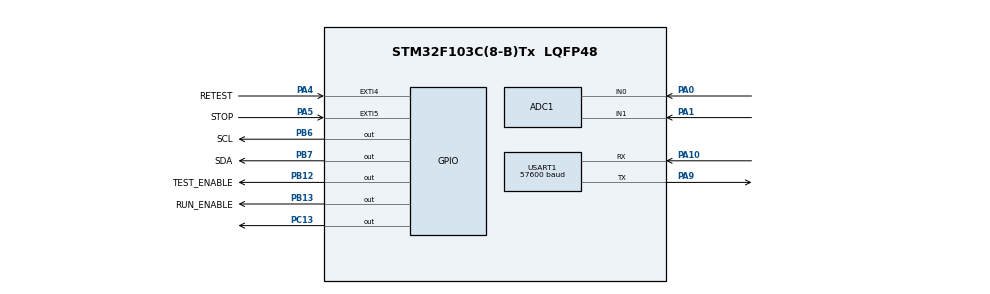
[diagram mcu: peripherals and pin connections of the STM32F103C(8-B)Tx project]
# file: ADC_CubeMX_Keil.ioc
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ADC1.Channel-0\#ChannelRegularConversion=ADC_CHANNEL_0
ADC1.Channel-1\#ChannelRegularConversion=ADC_CHANNEL_1
ADC1.ContinuousConvMode=DISABLE
ADC1.DiscontinuousConvMode=ENABLE
ADC1.NbrOfConversion=2
ADC1.NbrOfConversionFlag=1
ADC1.Rank-0\#ChannelRegularConversion=1
ADC1.Rank-1\#ChannelRegularConversion=2
ADC1.SamplingTime-0\#ChannelRegularConversion=ADC_SAMPLETIME_239CYCLES_5
ADC1.SamplingTime-1\#ChannelRegularConversion=ADC_SAMPLETIME_239CYCLES_5
ADC1.master=1
Mcu.Family=STM32F1
Mcu.Name=STM32F103C(8-B)Tx
Mcu.Package=LQFP48
NVIC.EXTI4_IRQn=true\:1\:0\:true\:false\:true\:true\:true\:true
NVIC.EXTI9_5_IRQn=true\:0\:0\:true\:false\:true\:true\:true\:true
NVIC.PriorityGroup=NVIC_PRIORITYGROUP_4
PA0-WKUP.Signal=SharedAnalog_PA0
PA1.GPIO_Mode=GPIO_MODE_ANALOG
PA1.Signal=SharedAnalog_PA1
PA10.Mode=Asynchronous
PA10.Signal=USART1_RX
PA4.GPIO_Label=RETEST
PA4.GPIO_ModeDefaultEXTI=GPIO_MODE_IT_FALLING
PA4.GPIO_PuPd=GPIO_PULLUP
PA4.Signal=GPXTI4
PA5.GPIO_Label=STOP
PA5.GPIO_ModeDefaultEXTI=GPIO_MODE_IT_FALLING
PA5.GPIO_PuPd=GPIO_PULLUP
PA5.Signal=GPXTI5
PA9.Mode=Asynchronous
PA9.Signal=USART1_TX
PB12.GPIO_Label=TEST_ENABLE
PB12.GPIO_ModeDefaultOutputPP=GPIO_MODE_OUTPUT_PP
PB12.GPIO_PuPd=GPIO_NOPULL
PB12.GPIO_Speed=GPIO_SPEED_FREQ_LOW
PB12.PinState=GPIO_PIN_RESET
PB12.Signal=GPIO_Output
PB13.GPIO_Label=RUN_ENABLE
PB13.GPIO_ModeDefaultOutputPP=GPIO_MODE_OUTPUT_PP
PB13.GPIO_PuPd=GPIO_NOPULL
PB13.GPIO_Speed=GPIO_SPEED_FREQ_LOW
PB13.PinState=GPIO_PIN_RESET
PB13.Signal=GPIO_Output
PB6.GPIO_Label=SCL
PB6.GPIO_ModeDefaultOutputPP=GPIO_MODE_OUTPUT_OD
PB6.GPIO_PuPd=GPIO_PULLUP
PB6.GPIO_Speed=GPIO_SPEED_FREQ_HIGH
PB6.PinState=GPIO_PIN_SET
PB6.Signal=GPIO_Output
PB7.GPIO_Label=SDA
PB7.GPIO_ModeDefaultOutputPP=GPIO_MODE_OUTPUT_OD
PB7.GPIO_PuPd=GPIO_PULLUP
PB7.GPIO_Speed=GPIO_SPEED_FREQ_HIGH
PB7.PinState=GPIO_PIN_SET
PB7.Signal=GPIO_Output
PC13-TAMPER-RTC.PinState=GPIO_PIN_SET
PC13-TAMPER-RTC.Signal=GPIO_Output
PC14-OSC32_IN.Mode=LSE-External-Oscillator
PC14-OSC32_IN.Signal=RCC_OSC32_IN
PC15-OSC32_OUT.Mode=LSE-External-Oscillator
PC15-OSC32_OUT.Signal=RCC_OSC32_OUT
PD0-OSC_IN.Mode=HSE-External-Oscillator
PD0-OSC_IN.Signal=RCC_OSC_IN
PD1-OSC_OUT.Mode=HSE-External-Oscillator
PD1-OSC_OUT.Signal=RCC_OSC_OUT
ProjectManager.HeapSize=0x200
ProjectManager.StackSize=0x400
ProjectManager.TargetToolchain=MDK-ARM V5.32
RCC.APB1Freq_Value=8000000
RCC.APB1TimFreq_Value=8000000
RCC.APB2Freq_Value=8000000
SH.SharedAnalog_PA0.0=GPIO_Analog
SH.SharedAnalog_PA0.1=ADC1_IN0,IN0
SH.SharedAnalog_PA1.0=GPIO_Analog
SH.SharedAnalog_PA1.1=ADC1_IN1,IN1
USART1.BaudRate=57600
USART1.VirtualMode=VM_ASYNC
VP_SYS_VS_ND.Mode=No_Debug
board=custom

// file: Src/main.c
/* USER CODE BEGIN Header */
/**
  ******************************************************************************
  * @file           : main.c
  * @brief          : Main program body
  ******************************************************************************
  * @attention
  *
  * Copyright (c) 2026 STMicroelectronics.
  * All rights reserved.
  *
  * This software is licensed under terms that can be found in the LICENSE file
  * in the root directory of this software component.
  * If no LICENSE file comes with this software, it is provided AS-IS.
  *
  ******************************************************************************
  */
/* USER CODE END Header */
#include "main.h"
#include "adc.h"
#include "usart.h"
#include "gpio.h"

/* USER CODE BEGIN Includes */
#include "div_config.h" /* 读取应用参数。 */
#include "div_power.h" /* 初始化和紧急断电接口。 */
#include "div_control.h" /* 按键和检测调度接口。 */
#include "div_display.h" /* OLED初始化和刷新接口。 */
#include "div_measurement.h" /* 启动后先执行首轮检测，再初始化OLED。 */
#include "oled_display.h" /* 提供OLED_DISPLAY_ENABLE编译开关。 */
/* USER CODE END Includes */

void SystemClock_Config(void);

int main(void)
{

  /* MCU Configuration--------------------------------------------------------*/

  /* Reset of all peripherals, Initializes the Flash interface and the Systick. */
  HAL_Init();

  /* Configure the system clock */
  SystemClock_Config();

  /* Initialize all configured peripherals */
  MX_GPIO_Init();
  MX_USART1_UART_Init();
  MX_ADC1_Init();
  /* USER CODE BEGIN 2 */
DivPower_Initialize(); /* GPIO初始化后确保两路电源均关闭。 */
HAL_Delay(TERMINAL_STARTUP_WAIT_MILLISECONDS); /* 等待虚拟终端进入接收状态。 */
{
    const char startup[] = "FW=DIV_SYNC_R19 OLED_MODE=TEXT4X16 ACK=UNCHECKED MODE=ON_DEMAND VREF_MV=3300 ADC_BITS=12 BAUD=57600\r\n"; /* 标记固件版本并保留原启动字段。 */
    if (HAL_UART_Transmit(&huart1, (uint8_t *)startup, sizeof(startup) - 1, UART_TIMEOUT_MILLISECONDS) != HAL_OK) /* 发送启动状态。 */
    {
        Error_Handler(); /* 串口启动失败时进入断电停机。 */
    }
}
if (HAL_ADCEx_Calibration_Start(&hadc1) != HAL_OK) /* 在测量前校准ADC。 */
{
    const char calibration_error[] = "STATE=UNKNOWN ERROR=ADC_CALIBRATION_FAILED RUN_POWER=OFF TEST_POWER=OFF\r\n"; /* 准备校准失败报告。 */
    HAL_UART_Transmit(&huart1, (uint8_t *)calibration_error, sizeof(calibration_error) - 1, UART_TIMEOUT_MILLISECONDS); /* 尽力输出校准故障。 */
    Error_Handler(); /* 校准失败时禁止继续检测。 */
}
DivControl_InitializeButtons(); /* 初始化RETEST外部中断事件状态。 */
DivControl_Trace("OLED_INIT_BEGIN");
DivDisplay_Initialize(); /* 先显示，再开始耗时采样，避免开机等待6秒后才点亮。 */
DivControl_Trace("OLED_INIT_END");
DivControl_Trace("INITIAL_DETECTION_START");
DivMeasurement_Run(); /* 首轮检测在OLED已初始化后运行，可实时显示TESTING和采样结果。 */
  /* USER CODE END 2 */

  /* Infinite loop */
  /* USER CODE BEGIN WHILE */
  while (1) /* 持续执行循环；错误处理中的空循环用于停机。 */
  {
    /* USER CODE END WHILE */

    /* USER CODE BEGIN 3 */
DivControl_Service(); /* 处理停止、复测及ADC检测调度。 */
#if OLED_DISPLAY_ENABLE /* OLED启用时刷新显示并输出状态。 */
DivDisplay_Service(); /* 刷新最近一次测量结果。 */
DivDisplay_ServiceStatus(); /* 定时输出主循环和I2C状态。 */
#endif /* 结束OLED服务条件编译。 */
HAL_Delay(CONTROL_POLL_MILLISECONDS); /* 控制轮询节拍；RETEST由EXTI4产生事件。 */
  }
  /* USER CODE END 3 */
}

void SystemClock_Config(void)
{
  RCC_OscInitTypeDef RCC_OscInitStruct = {0};
  RCC_ClkInitTypeDef RCC_ClkInitStruct = {0};
  RCC_PeriphCLKInitTypeDef PeriphClkInit = {0};

  /** Initializes the RCC Oscillators according to the specified parameters
  * in the RCC_OscInitTypeDef structure.
  */
  RCC_OscInitStruct.OscillatorType = RCC_OSCILLATORTYPE_HSI;
  RCC_OscInitStruct.HSIState = RCC_HSI_ON;
  RCC_OscInitStruct.HSICalibrationValue = RCC_HSICALIBRATION_DEFAULT;
  RCC_OscInitStruct.PLL.PLLState = RCC_PLL_NONE;
  if (HAL_RCC_OscConfig(&RCC_OscInitStruct) != HAL_OK)
  {
    Error_Handler();
  }

  /** Initializes the CPU, AHB and APB buses clocks
  */
  RCC_ClkInitStruct.ClockType = RCC_CLOCKTYPE_HCLK|RCC_CLOCKTYPE_SYSCLK
                              |RCC_CLOCKTYPE_PCLK1|RCC_CLOCKTYPE_PCLK2;
  RCC_ClkInitStruct.SYSCLKSource = RCC_SYSCLKSOURCE_HSI;
  RCC_ClkInitStruct.AHBCLKDivider = RCC_SYSCLK_DIV1;
  RCC_ClkInitStruct.APB1CLKDivider = RCC_HCLK_DIV1;
  RCC_ClkInitStruct.APB2CLKDivider = RCC_HCLK_DIV1;

  if (HAL_RCC_ClockConfig(&RCC_ClkInitStruct, FLASH_LATENCY_0) != HAL_OK)
  {
    Error_Handler();
  }
  PeriphClkInit.PeriphClockSelection = RCC_PERIPHCLK_ADC;
  PeriphClkInit.AdcClockSelection = RCC_ADCPCLK2_DIV2;
  if (HAL_RCCEx_PeriphCLKConfig(&PeriphClkInit) != HAL_OK)
  {
    Error_Handler();
  }
}

void Error_Handler(void)
{
  /* USER CODE BEGIN Error_Handler_Debug */
  /* User can add his own implementation to report the HAL error return state */
  DivEmergencyStop(); /* 在关闭中断和停机之前，先关闭被测电路的两路电源。 */
  __disable_irq(); /* 错误时关闭中断，保留失败现场供检查。 */
  while (1) /* 持续执行循环；错误处理中的空循环用于停机。 */
  {
  }
  /* USER CODE END Error_Handler_Debug */
}
